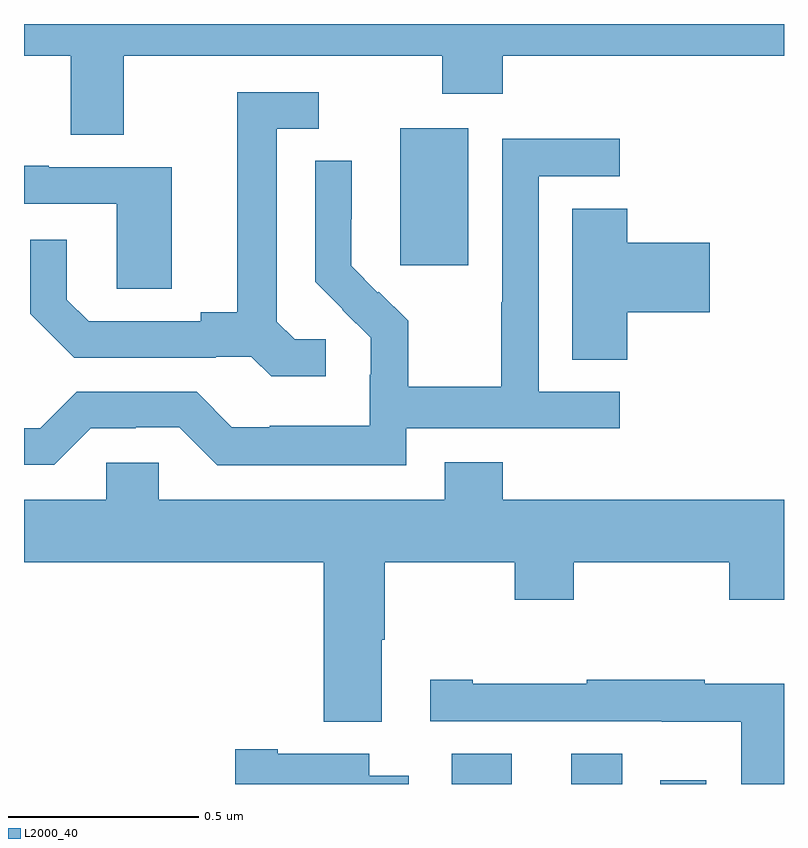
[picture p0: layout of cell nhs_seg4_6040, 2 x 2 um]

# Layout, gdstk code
import gdstk
lib = gdstk.Library(unit=1e-6, precision=1e-09)
def R(c, l, rs):  # rectangles x0, y0, x1, y1
    for r in rs: c.add(gdstk.rectangle(r[:2], r[2:], *l))
def P(c, l, *ps):  # polygons
    for p in ps: c.add(gdstk.Polygon(p, *l))
L2000_40 = (2000, 40)

nhs_seg4_6040 = lib.new_cell('nhs_seg4_6040')
R(nhs_seg4_6040, L2000_40, [(186.125,798.9,186.283,798.98), (186.44,798.9,186.574,798.98), (186.674,798.9,186.796,798.91), (185.99,800.265,186.169,800.626)])
P(nhs_seg4_6040, L2000_40, [(185.263,800.816),(186.1,800.816),(186.1,800.717),(186.26,800.717),(186.26,800.816),(187,800.816),(187,800.9),(185,800.9),(185,800.816),(185.123,800.816),(185.123,800.608),(185.263,800.608)],
  [(185.794,800.07),(185.712,800.07),(185.665,800.117),(185.665,800.625),(185.776,800.625),(185.776,800.721),(185.561,800.721),(185.561,800.141),(185.465,800.141),(185.465,800.118),(185.17,800.118),(185.113,800.175),(185.113,800.332),(185.016,800.332),(185.016,800.138),(185.132,800.022),(185.504,800.022),(185.504,800.025),(185.598,800.025),(185.65,799.973),(185.794,799.973)],
  [(186.006,799.836),(186.568,799.836),(186.568,799.932),(186.354,799.932),(186.354,800.499),(186.568,800.499),(186.568,800.598),(186.258,800.598),(186.258,800.168),(186.256,800.168),(186.256,799.945),(186.011,799.945),(186.011,800.119),(185.934,800.196),(185.931,800.193),(185.861,800.264),(185.861,800.386),(185.862,800.386),(185.862,800.54),(185.766,800.54),(185.766,800.222),(185.839,800.149),(185.838,800.148),(185.912,800.074),(185.912,799.977),(185.91,799.977),(185.91,799.843),(185.647,799.843),(185.647,799.839),(185.547,799.839),(185.454,799.932),(185.139,799.932),(185.043,799.836),(185,799.836),(185,799.74),(185.079,799.74),(185.175,799.836),(185.294,799.836),(185.294,799.839),(185.409,799.839),(185.509,799.739),(186.006,799.739)],
  [(185.389,800.523),(185.065,800.523),(185.065,800.527),(185,800.527),(185,800.427),(185.244,800.427),(185.244,800.203),(185.389,800.203)],
  [(186.587,800.141),(186.805,800.141),(186.805,800.324),(186.587,800.324),(186.587,800.414),(186.443,800.414),(186.443,800.017),(186.587,800.017)],
  [(185.941,799.28),(185.949,799.28),(185.949,799.484),(186.292,799.484),(186.292,799.385),(186.447,799.385),(186.447,799.484),(186.856,799.484),(186.856,799.385),(187,799.385),(187,799.648),(186.26,799.648),(186.26,799.747),(186.107,799.747),(186.107,799.648),(185.355,799.648),(185.355,799.746),(185.217,799.746),(185.217,799.648),(185,799.648),(185,799.484),(185.789,799.484),(185.789,799.064),(185.941,799.064)],
  [(187,799.164),(186.791,799.164),(186.791,799.174),(186.481,799.174),(186.481,799.164),(186.181,799.164),(186.181,799.174),(186.069,799.174),(186.069,799.065),(186.678,799.065),(186.678,799.064),(186.888,799.064),(186.888,798.9),(187,798.9)],
  [(186.013,798.922),(185.908,798.922),(185.908,798.979),(185.668,798.979),(185.668,798.992),(185.556,798.992),(185.556,798.9),(186.013,798.9)])

lib.write_gds('nhs_seg4_6040.gds')
